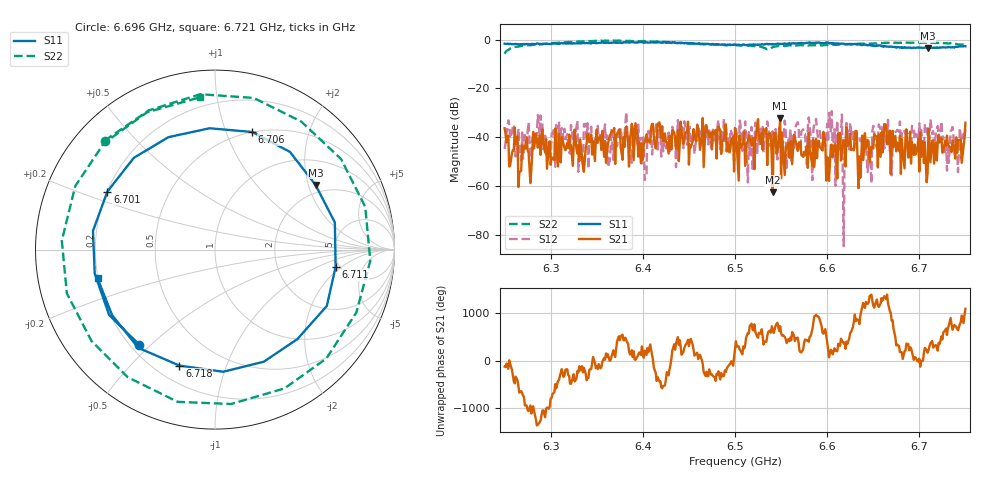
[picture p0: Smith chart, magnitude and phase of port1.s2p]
# Hz S RI R 50
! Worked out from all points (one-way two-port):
!   401 points, 6.25 GHz to 6.75 GHz, reference 50 ohm
!   highest |S21| = -32.19 dB at 6.549 GHz (marker M1); lowest = -62.6 dB at 6.541 GHz (marker M2)
!   lowest |S11| = -3.5 dB at 6.709 GHz (marker M3), VSWR 4.99, Z = 86 + j111 ohm
!   |S11| at or under -10 dB: nowhere
!   |S22| runs from -5.8 to -0.4 dB; largest |S21 - S12| = 0.041
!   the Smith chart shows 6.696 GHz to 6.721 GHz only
!   S11 on the Smith chart (normalised r, x): 6.696 GHz: 0.24, -0.46; 6.701 GHz: 0.20, +0.24; 6.706 GHz: 0.50, +1.24; 6.711 GHz: 4.62, -1.64; 6.718 GHz: 0.29, -0.70; 6.721 GHz: 0.20, -0.12
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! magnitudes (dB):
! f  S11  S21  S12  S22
! 6.25 GHz  -1.7  -36.4  -44.9  -5.8
! 6.268 GHz  -1.9  -53.8  -49.6  -2.6
! 6.29 GHz  -1.9  -39.4  -37.1  -1.9
! 6.298 GHz  -1.8  -43.3  -42.1  -1.6
! 6.334 GHz  -1.5  -48.4  -47.4  -0.7
! 6.394 GHz  -1.3  -38.6  -42.8  -0.6
! 6.401 GHz  -1.3  -43.0  -42.8  -0.5
! 6.418 GHz  -1.1  -33.9  -35.2  -0.8
! 6.5 GHz  -2.2  -36.3  -41.7  -2.3
! 6.541 GHz  -1.8  -62.6  -37.6  -3.1
! 6.549 GHz  -1.8  -32.2  -43.5  -2.6
! 6.584 GHz  -1.3  -51.8  -57.7  -2.4
! 6.668 GHz  -2.9  -37.3  -45.6  -1.4
! 6.696 GHz  -3.4  -47.2  -38.7  -1.3
! 6.701 GHz  -3.3  -38.0  -38.7  -1.3
! 6.706 GHz  -3.3  -42.2  -34.7  -1.3
! 6.709 GHz  -3.5  -54.7  -39.3  -1.3
! 6.711 GHz  -3.4  -41.7  -40.7  -1.2
! 6.718 GHz  -3.4  -42.2  -38.3  -1.4
! 6.721 GHz  -3.4  -39.0  -39.7  -1.4
! 6.73 GHz  -3.2  -39.4  -53.7  -1.5
! 6.75 GHz  -2.7  -34.1  -36.8  -2.2
